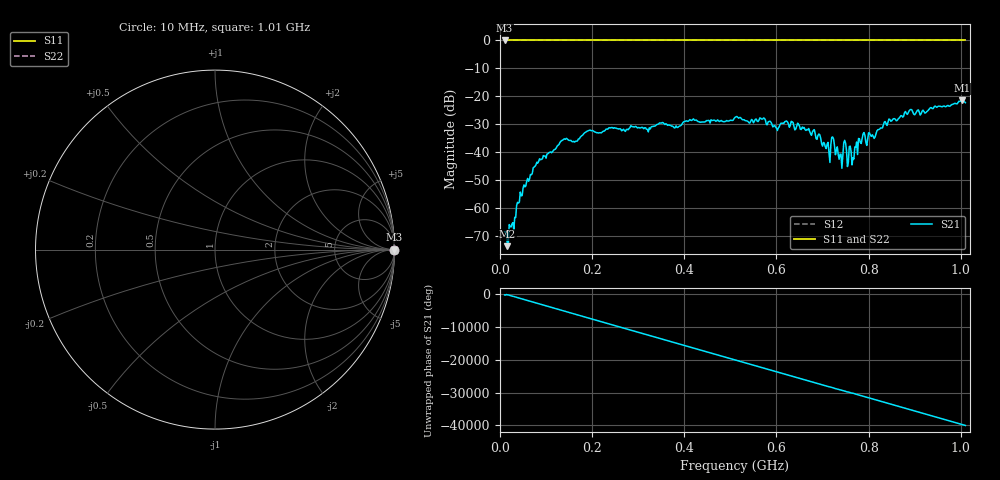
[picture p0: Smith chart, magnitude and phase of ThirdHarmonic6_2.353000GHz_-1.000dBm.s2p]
! 8/17/2025 3:33:44 AM
! C:\ANRITSUVNA\TEMP\TEMP.S2P
! CHANNEL.1
! TR.MEASUREMENT
! RAW.DATA
! RF.CORRECTION.OFF
! AVERAGING.OFF
! IF.BANDWIDTH: 5KHZ
! SWEEPTYPE:  FREQ.SWEEP(Linear)
! Reference Plane Port Info
! PORT:  PORT1  PORT2
! DISTANCE:  0  m  0  m
! TIME:  0  s  0  s
! PHASE.OFFSET:  0  deg.  0  deg.
! LOSS:  0  dB  0  dB
! REF.LOSS:  0  dB  0  dB
! REF.FREQ:  0  Hz  0  Hz
! Power Info
! POWER:  -20  dBm  -20  dBm
! EFF.POWER:  -20  dBm  -20  dBm
! SOURCE.ATTEN:  0  dB  0  dB
! TEST.ATTEN:  0  dB  0  dB
# GHZ S RI R 50.0
! FREQ.GHZ  S11RE  S11IM  S21RE  S21IM  S12RE  S12IM  S22RE  S22IM
!; PortSelection: Port_12
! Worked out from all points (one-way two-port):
!   501 points, 10 MHz to 1.01 GHz, reference 50 ohm
!   highest |S21| = -21.39 dB at 1.002 GHz (marker M1); lowest = -73.5 dB at 16 MHz (marker M2)
!   lowest |S11| = 0.0 dB at 10 MHz (marker M3)
!   |S11| at or under -10 dB: nowhere
!   |S22| runs from 0.0 to 0.0 dB; largest |S21 - S12| = 1.1
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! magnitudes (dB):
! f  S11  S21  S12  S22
! 10 MHz  0.0  -68.4  0.0  0.0
! 16 MHz  0.0  -73.5  0.0  0.0
! 30 MHz  0.0  -67.8  0.0  0.0
! 48 MHz  0.0  -55.5  0.0  0.0
! 76 MHz  0.0  -45.0  0.0  0.0
! 136 MHz  0.0  -35.6  0.0  0.0
! 178 MHz  0.0  -34.0  0.0  0.0
! 344 MHz  0.0  -29.9  0.0  0.0
! 510 MHz  0.0  -27.5  0.0  0.0
! 602 MHz  0.0  -32.2  0.0  0.0
! 622 MHz  0.0  -28.8  0.0  0.0
! 678 MHz  0.0  -32.7  0.0  0.0
! 712 MHz  0.0  -36.4  0.0  0.0
! 722 MHz  0.0  -34.5  0.0  0.0
! 740 MHz  0.0  -40.7  0.0  0.0
! 748 MHz  0.0  -35.7  0.0  0.0
! 766 MHz  0.0  -41.9  0.0  0.0
! 788 MHz  0.0  -33.4  0.0  0.0
! 812 MHz  0.0  -35.0  0.0  0.0
! 844 MHz  0.0  -28.1  0.0  0.0
! 1.002 GHz  0.0  -21.4  0.0  0.0
! 1.01 GHz  0.0  -22.3  0.0  0.0
